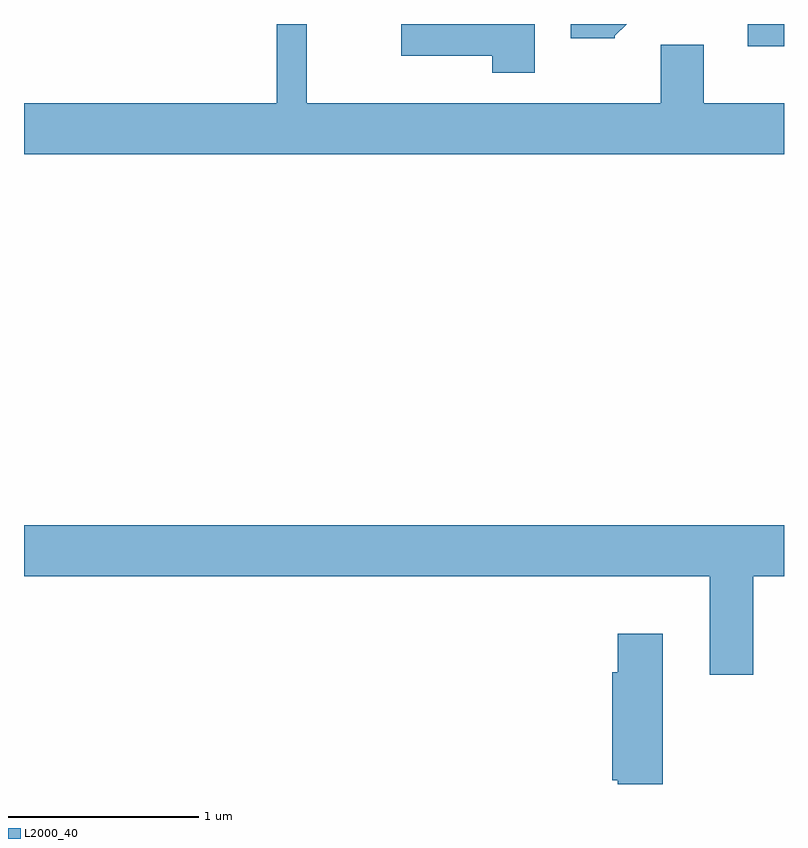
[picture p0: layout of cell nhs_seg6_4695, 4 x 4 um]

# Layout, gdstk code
import gdstk
lib = gdstk.Library(unit=1e-6, precision=1e-09)
def R(c, l, rs):  # rectangles x0, y0, x1, y1
    for r in rs: c.add(gdstk.rectangle(r[:2], r[2:], *l))
def P(c, l, *ps):  # polygons
    for p in ps: c.add(gdstk.Polygon(p, *l))
L2000_40 = (2000, 40)

nhs_seg6_4695 = lib.new_cell('nhs_seg6_4695')
R(nhs_seg6_4695, L2000_40, [(331.421,1666.046,331.611,1666.162)])
P(nhs_seg6_4695, L2000_40, [(331.611,1665.744),(331.189,1665.744),(331.189,1666.054),(330.961,1666.054),(330.961,1665.744),(329.099,1665.744),(329.099,1666.162),(328.941,1666.162),(328.941,1665.744),(327.611,1665.744),(327.611,1665.476),(331.611,1665.476)],
  [(330.299,1666.162),(329.596,1666.162),(329.596,1665.996),(330.076,1665.996),(330.076,1665.906),(330.299,1665.906)],
  [(330.72,1666.1),(330.783,1666.162),(330.488,1666.162),(330.488,1666.086),(330.72,1666.086)],
  [(331.449,1663.256),(331.611,1663.256),(331.611,1663.524),(327.611,1663.524),(327.611,1663.256),(331.221,1663.256),(331.221,1662.736),(331.449,1662.736)],
  [(330.974,1662.954),(330.736,1662.954),(330.736,1662.749),(330.706,1662.749),(330.706,1662.181),(330.736,1662.181),(330.736,1662.162),(330.974,1662.162)])

lib.write_gds('nhs_seg6_4695.gds')
